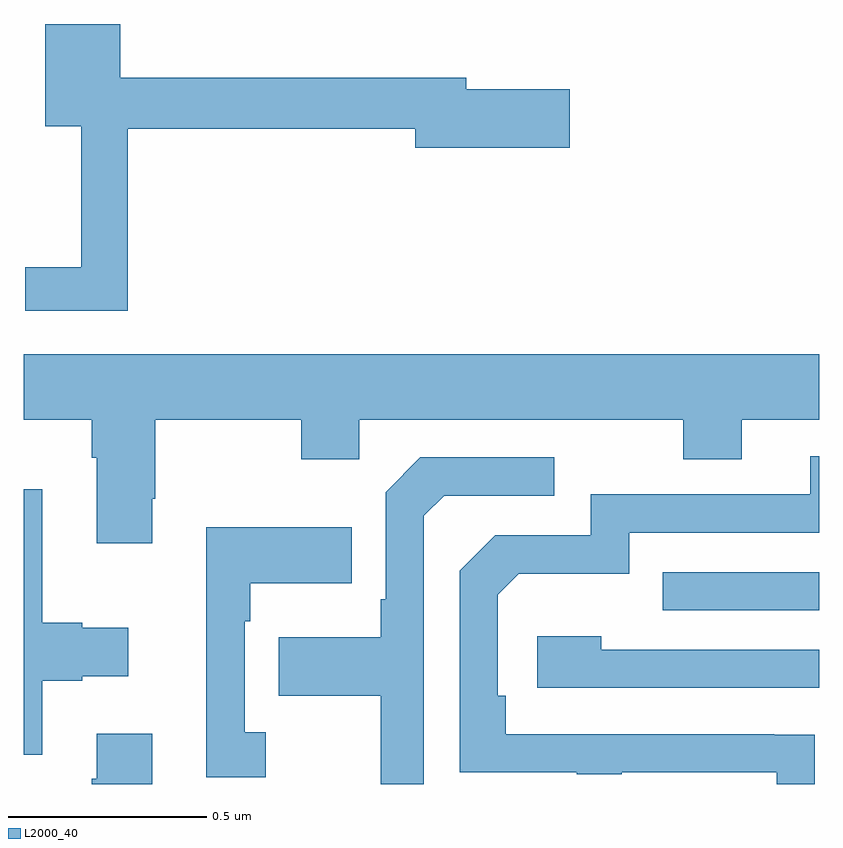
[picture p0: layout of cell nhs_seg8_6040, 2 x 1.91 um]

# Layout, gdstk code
import gdstk
lib = gdstk.Library(unit=1e-6, precision=1e-09)
def R(c, l, rs):  # rectangles x0, y0, x1, y1
    for r in rs: c.add(gdstk.rectangle(r[:2], r[2:], *l))
def P(c, l, *ps):  # polygons
    for p in ps: c.add(gdstk.Polygon(p, *l))
L2000_40 = (2000, 40)

nhs_seg8_6040 = lib.new_cell('nhs_seg8_6040')
R(nhs_seg8_6040, L2000_40, [(192.607,1133.337,193,1133.433)])
P(nhs_seg8_6040, L2000_40, [(191.261,1134.547),(191.984,1134.547),(191.984,1134.5),(192.373,1134.5),(192.373,1134.647),(192.112,1134.647),(192.112,1134.676),(191.242,1134.676),(191.242,1134.811),(191.054,1134.811),(191.054,1134.554),(191.144,1134.554),(191.144,1134.199),(191.004,1134.199),(191.004,1134.09),(191.261,1134.09)],
  [(191.323,1133.617),(191.331,1133.617),(191.331,1133.816),(191.698,1133.816),(191.698,1133.717),(191.844,1133.717),(191.844,1133.816),(192.658,1133.816),(192.658,1133.717),(192.805,1133.717),(192.805,1133.816),(193,1133.816),(193,1133.98),(191,1133.98),(191,1133.816),(191.171,1133.816),(191.171,1133.72),(191.183,1133.72),(191.183,1133.505),(191.323,1133.505)],
  [(192.989,1133.024),(192.887,1133.024),(192.887,1133.025),(192.212,1133.025),(192.212,1133.122),(192.192,1133.122),(192.192,1133.376),(192.245,1133.429),(192.522,1133.429),(192.522,1133.532),(193,1133.532),(193,1133.724),(192.977,1133.724),(192.977,1133.628),(192.426,1133.628),(192.426,1133.526),(192.186,1133.526),(192.096,1133.436),(192.096,1132.929),(192.391,1132.929),(192.391,1132.924),(192.503,1132.924),(192.503,1132.929),(192.893,1132.929),(192.893,1132.9),(192.989,1132.9)],
  [(192.006,1133.574),(192.057,1133.625),(192.334,1133.625),(192.334,1133.721),(191.997,1133.721),(191.91,1133.634),(191.91,1133.365),(191.898,1133.365),(191.898,1133.269),(191.641,1133.269),(191.641,1133.122),(191.898,1133.122),(191.898,1132.9),(192.006,1132.9)],
  [(191.047,1133.159),(191.147,1133.159),(191.147,1133.171),(191.263,1133.171),(191.263,1133.293),(191.147,1133.293),(191.147,1133.306),(191.047,1133.306),(191.047,1133.641),(191,1133.641),(191,1132.974),(191.047,1132.974)],
  [(191.608,1133.03),(191.556,1133.03),(191.556,1133.309),(191.569,1133.309),(191.569,1133.405),(191.825,1133.405),(191.825,1133.545),(191.459,1133.545),(191.459,1132.917),(191.608,1132.917)],
  [(193,1133.238),(192.452,1133.238),(192.452,1133.272),(192.291,1133.272),(192.291,1133.142),(193,1133.142)],
  [(191.323,1133.026),(191.183,1133.026),(191.183,1132.913),(191.171,1132.913),(191.171,1132.9),(191.323,1132.9)])

lib.write_gds('nhs_seg8_6040.gds')
